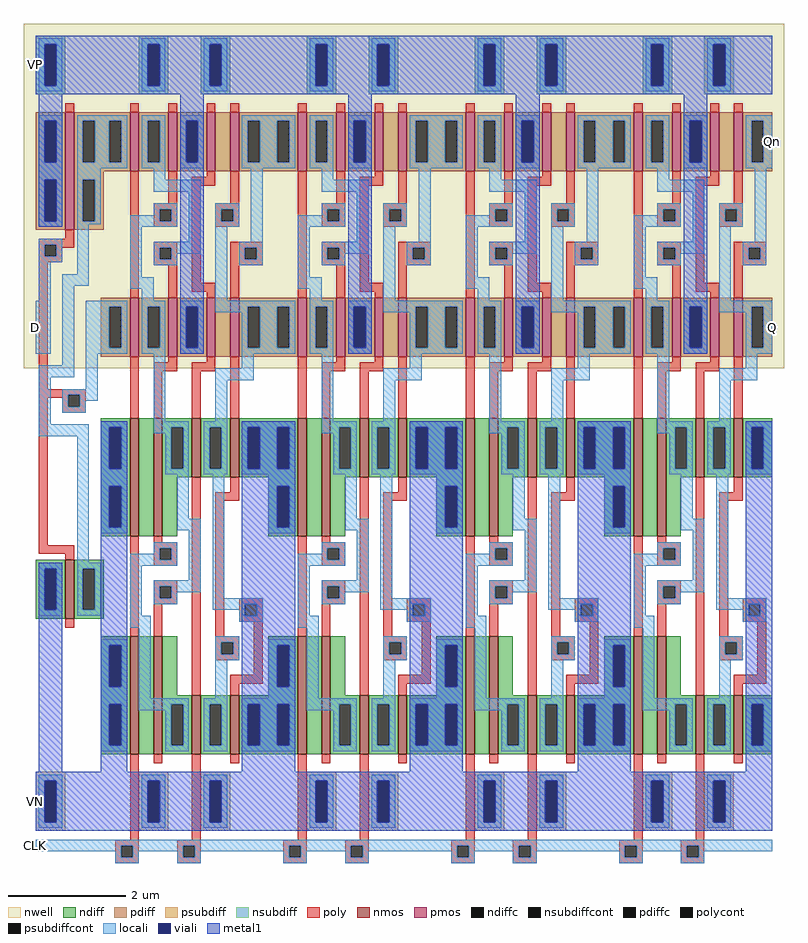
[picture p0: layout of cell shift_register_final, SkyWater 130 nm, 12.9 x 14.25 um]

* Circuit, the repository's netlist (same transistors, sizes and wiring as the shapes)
* SPICE3 file created from shift_register_final.ext - technology: sky130A

.subckt inverter Y VP VN CLK A
X0 Y A VP VP sky130_fd_pr__pfet_01v8 ad=1e+12p pd=5e+06u as=1e+12p ps=5e+06u w=2e+06u l=150000u
X1 Y A VN VN sky130_fd_pr__nfet_01v8 ad=5e+11p pd=3e+06u as=5e+11p ps=3e+06u w=1e+06u l=150000u
.ends

.subckt CSRL_D_FF Dn D Qn Q CLK VP VN
X0 Qn Q a_290_1950# VP sky130_fd_pr__pfet_01v8 ad=5e+11p pd=3e+06u as=2.5e+11p ps=2.5e+06u w=1e+06u l=150000u
X1 Q CLK a_30_1320# VN sky130_fd_pr__nfet_01v8 ad=5e+11p pd=3e+06u as=7.5e+11p ps=5e+06u w=1e+06u l=150000u
X2 VP a_30_1320# a_30_1950# VP sky130_fd_pr__pfet_01v8 ad=1e+12p pd=6e+06u as=5e+11p ps=3e+06u w=1e+06u l=150000u
X3 a_30_710# CLK VN VN sky130_fd_pr__nfet_01v8 ad=5e+11p pd=4.5e+06u as=3e+12p ps=1.6e+07u w=2e+06u l=150000u
X4 a_290_1320# CLK VP VP sky130_fd_pr__pfet_01v8 ad=2.5e+11p pd=2.5e+06u as=0p ps=0u w=1e+06u l=150000u
X5 a_30_n30# CLK VN VN sky130_fd_pr__nfet_01v8 ad=5e+11p pd=4.5e+06u as=0p ps=0u w=2e+06u l=150000u
X6 VN Qn Q VN sky130_fd_pr__nfet_01v8 ad=0p pd=0u as=0p ps=0u w=1e+06u l=150000u
X7 a_30_1320# CLK D VP sky130_fd_pr__pfet_01v8 ad=5e+11p pd=3e+06u as=5e+11p ps=3e+06u w=1e+06u l=150000u
X8 a_290_1950# CLK VP VP sky130_fd_pr__pfet_01v8 ad=0p pd=0u as=0p ps=0u w=1e+06u l=150000u
X9 Q Qn a_290_1320# VP sky130_fd_pr__pfet_01v8 ad=5e+11p pd=3e+06u as=0p ps=0u w=1e+06u l=150000u
X10 VP a_30_1950# a_30_1320# VP sky130_fd_pr__pfet_01v8 ad=0p pd=0u as=0p ps=0u w=1e+06u l=150000u
X11 Qn CLK a_30_1950# VN sky130_fd_pr__nfet_01v8 ad=5e+11p pd=3e+06u as=7.5e+11p ps=5e+06u w=1e+06u l=150000u
X12 a_30_1950# CLK Dn VP sky130_fd_pr__pfet_01v8 ad=0p pd=0u as=5e+11p ps=3e+06u w=1e+06u l=150000u
X13 a_30_1320# a_30_1950# a_30_710# VN sky130_fd_pr__nfet_01v8 ad=0p pd=0u as=0p ps=0u w=2e+06u l=150000u
X14 a_30_1950# a_30_1320# a_30_n30# VN sky130_fd_pr__nfet_01v8 ad=0p pd=0u as=0p ps=0u w=2e+06u l=150000u
X15 VN Q Qn VN sky130_fd_pr__nfet_01v8 ad=0p pd=0u as=0p ps=0u w=1e+06u l=150000u
.ends


* Top level circuit shift_register_final

Xinverter_0 inverter_0/Y VP VN CLK D inverter
XCSRL_D_FF_0 inverter_0/Y D CSRL_D_FF_1/Dn CSRL_D_FF_1/D CLK VP VN CSRL_D_FF
XCSRL_D_FF_1 CSRL_D_FF_1/Dn CSRL_D_FF_1/D CSRL_D_FF_2/Dn CSRL_D_FF_2/D CLK VP VN CSRL_D_FF
XCSRL_D_FF_2 CSRL_D_FF_2/Dn CSRL_D_FF_2/D CSRL_D_FF_3/Dn CSRL_D_FF_3/D CLK VP VN CSRL_D_FF
XCSRL_D_FF_3 CSRL_D_FF_3/Dn CSRL_D_FF_3/D Qn Q CLK VP VN CSRL_D_FF
.end

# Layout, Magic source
magic
tech sky130A
<< locali >>
rect 1145 1180 1160 1270
rect -90 865 -65 955
rect 1145 865 1160 955
rect -90 20 -75 40
<< metal1 >>
rect -90 1305 -75 1405
rect -90 55 -75 155
use inverter  inverter_0
transform 1 0 -40 0 1 185
box -70 -165 85 1240
use CSRL_D_FF  CSRL_D_FF_3
transform 1 0 925 0 1 200
box -70 -200 255 1225
use CSRL_D_FF  CSRL_D_FF_2
transform 1 0 640 0 1 200
box -70 -200 255 1225
use CSRL_D_FF  CSRL_D_FF_1
transform 1 0 355 0 1 200
box -70 -200 255 1225
use CSRL_D_FF  CSRL_D_FF_0
transform 1 0 70 0 1 200
box -70 -200 255 1225
<< labels >>
rlabel locali -90 910 -90 910 7 D
rlabel metal1 -90 1355 -90 1355 7 VP
rlabel metal1 -90 105 -90 105 7 VN
rlabel locali -90 30 -90 30 7 CLK
rlabel locali 1160 910 1160 910 3 Q
rlabel locali 1160 1225 1160 1225 3 Qn
<< end >>

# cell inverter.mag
magic
tech sky130A
<< nwell >>
rect -70 655 85 1240
<< nmos >>
rect 0 230 15 330
<< pmos >>
rect 0 890 15 1090
<< ndiff >>
rect -50 315 0 330
rect -50 245 -35 315
rect -15 245 0 315
rect -50 230 0 245
rect 15 315 65 330
rect 15 245 30 315
rect 50 245 65 315
rect 15 230 65 245
<< pdiff >>
rect -50 1075 0 1090
rect -50 1005 -35 1075
rect -15 1005 0 1075
rect -50 975 0 1005
rect -50 905 -35 975
rect -15 905 0 975
rect -50 890 0 905
rect 15 1075 65 1090
rect 15 1005 30 1075
rect 50 1005 65 1075
rect 15 975 65 1005
rect 15 905 30 975
rect 50 905 65 975
rect 15 890 65 905
<< ndiffc >>
rect -35 245 -15 315
rect 30 245 50 315
<< pdiffc >>
rect -35 1005 -15 1075
rect -35 905 -15 975
rect 30 1005 50 1075
rect 30 905 50 975
<< psubdiff >>
rect -50 -45 0 -30
rect -50 -115 -35 -45
rect -15 -115 0 -45
rect -50 -130 0 -115
<< nsubdiff >>
rect -50 1205 0 1220
rect -50 1135 -35 1205
rect -15 1135 0 1205
rect -50 1120 0 1135
<< psubdiffcont >>
rect -35 -115 -15 -45
<< nsubdiffcont >>
rect -35 1135 -15 1205
<< poly >>
rect 0 1090 15 1105
rect 0 875 15 890
rect -45 865 15 875
rect -45 845 -35 865
rect -15 860 15 865
rect -15 845 -5 860
rect -45 835 -5 845
rect -45 620 -30 835
rect -45 610 35 620
rect -45 605 5 610
rect -45 355 -30 605
rect -5 590 5 605
rect 25 590 35 610
rect -5 580 35 590
rect -45 340 15 355
rect 0 330 15 340
rect 0 215 15 230
<< polycont >>
rect -35 845 -15 865
rect 5 590 25 610
<< locali >>
rect -45 1205 -5 1215
rect -45 1135 -35 1205
rect -15 1135 -5 1205
rect -45 1125 -5 1135
rect -45 1075 -5 1085
rect -45 1005 -35 1075
rect -15 1005 -5 1075
rect -45 975 -5 1005
rect -45 905 -35 975
rect -15 905 -5 975
rect -45 895 -5 905
rect 20 1075 65 1085
rect 20 1005 30 1075
rect 50 1005 65 1075
rect 20 995 65 1005
rect 20 975 60 995
rect 20 905 30 975
rect 50 905 60 975
rect 20 900 60 905
rect -45 865 -5 875
rect -45 845 -35 865
rect -15 845 -5 865
rect -45 835 -5 845
rect -45 770 -25 835
rect 20 815 40 900
rect -50 680 -25 770
rect -5 795 40 815
rect -5 660 15 795
rect -45 640 15 660
rect 35 680 65 770
rect -45 560 -25 640
rect 35 620 55 680
rect -5 610 55 620
rect -5 590 5 610
rect 25 600 55 610
rect 25 590 35 600
rect -5 580 35 590
rect -45 540 40 560
rect 20 325 40 540
rect -45 315 -5 325
rect -45 245 -35 315
rect -15 245 -5 315
rect -45 235 -5 245
rect 20 315 60 325
rect 20 245 30 315
rect 50 245 60 315
rect 20 235 60 245
rect -45 -45 -5 -35
rect -45 -115 -35 -45
rect -15 -115 -5 -45
rect -45 -125 -5 -115
rect -50 -165 65 -145
<< viali >>
rect -35 1135 -15 1205
rect -35 1005 -15 1075
rect -35 905 -15 975
rect -35 245 -15 315
rect -35 -115 -15 -45
<< metal1 >>
rect -50 1205 65 1220
rect -50 1135 -35 1205
rect -15 1135 65 1205
rect -50 1120 65 1135
rect -45 1075 -5 1120
rect -45 1005 -35 1075
rect -15 1005 -5 1075
rect -45 975 -5 1005
rect -45 905 -35 975
rect -15 905 -5 975
rect -45 895 -5 905
rect -45 315 -5 325
rect -45 245 -35 315
rect -15 245 -5 315
rect -45 -30 -5 245
rect -50 -45 65 -30
rect -50 -115 -35 -45
rect -15 -115 65 -45
rect -50 -130 65 -115
<< labels >>
rlabel metal1 -50 1170 -50 1170 7 VP
port 3 w
rlabel locali -50 725 -50 725 7 A
port 1 w
rlabel locali 65 1040 65 1040 3 Y
port 2 e
rlabel metal1 -50 -80 -50 -80 7 VN
port 4 w
rlabel locali -50 -155 -50 -155 7 CLK
port 5 w
rlabel locali 65 725 65 725 3 Ao
port 6 e
<< end >>

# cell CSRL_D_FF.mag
magic
tech sky130A
<< nwell >>
rect -70 640 255 1225
<< nmos >>
rect 0 355 15 555
rect 40 355 55 555
rect 105 455 120 555
rect 170 455 185 555
rect 0 -15 15 185
rect 40 -15 55 185
rect 105 -15 120 85
rect 170 -15 185 85
<< pmos >>
rect 0 975 15 1075
rect 65 975 80 1075
rect 130 975 145 1075
rect 170 975 185 1075
rect 0 660 15 760
rect 65 660 80 760
rect 130 660 145 760
rect 170 660 185 760
<< ndiff >>
rect -50 540 0 555
rect -50 470 -35 540
rect -15 470 0 540
rect -50 440 0 470
rect -50 370 -35 440
rect -15 370 0 440
rect -50 355 0 370
rect 15 355 40 555
rect 55 540 105 555
rect 55 470 70 540
rect 90 470 105 540
rect 55 455 105 470
rect 120 540 170 555
rect 120 470 135 540
rect 155 470 170 540
rect 120 455 170 470
rect 185 540 235 555
rect 185 470 200 540
rect 220 470 235 540
rect 185 455 235 470
rect 55 355 80 455
rect -50 170 0 185
rect -50 100 -35 170
rect -15 100 0 170
rect -50 70 0 100
rect -50 0 -35 70
rect -15 0 0 70
rect -50 -15 0 0
rect 15 -15 40 185
rect 55 85 80 185
rect 55 70 105 85
rect 55 0 70 70
rect 90 0 105 70
rect 55 -15 105 0
rect 120 70 170 85
rect 120 0 135 70
rect 155 0 170 70
rect 120 -15 170 0
rect 185 70 235 85
rect 185 0 200 70
rect 220 0 235 70
rect 185 -15 235 0
<< pdiff >>
rect -50 1060 0 1075
rect -50 990 -35 1060
rect -15 990 0 1060
rect -50 975 0 990
rect 15 1060 65 1075
rect 15 990 30 1060
rect 50 990 65 1060
rect 15 975 65 990
rect 80 1060 130 1075
rect 80 990 95 1060
rect 115 990 130 1060
rect 80 975 130 990
rect 145 975 170 1075
rect 185 1060 235 1075
rect 185 990 200 1060
rect 220 990 235 1060
rect 185 975 235 990
rect -50 745 0 760
rect -50 675 -35 745
rect -15 675 0 745
rect -50 660 0 675
rect 15 745 65 760
rect 15 675 30 745
rect 50 675 65 745
rect 15 660 65 675
rect 80 745 130 760
rect 80 675 95 745
rect 115 675 130 745
rect 80 660 130 675
rect 145 660 170 760
rect 185 745 235 760
rect 185 675 200 745
rect 220 675 235 745
rect 185 660 235 675
<< ndiffc >>
rect -35 470 -15 540
rect -35 370 -15 440
rect 70 470 90 540
rect 135 470 155 540
rect 200 470 220 540
rect -35 100 -15 170
rect -35 0 -15 70
rect 70 0 90 70
rect 135 0 155 70
rect 200 0 220 70
<< pdiffc >>
rect -35 990 -15 1060
rect 30 990 50 1060
rect 95 990 115 1060
rect 200 990 220 1060
rect -35 675 -15 745
rect 30 675 50 745
rect 95 675 115 745
rect 200 675 220 745
<< psubdiff >>
rect 15 -60 65 -45
rect 15 -130 30 -60
rect 50 -130 65 -60
rect 15 -145 65 -130
rect 120 -60 170 -45
rect 120 -130 135 -60
rect 155 -130 170 -60
rect 120 -145 170 -130
<< nsubdiff >>
rect 15 1190 65 1205
rect 15 1120 30 1190
rect 50 1120 65 1190
rect 15 1105 65 1120
rect 120 1190 170 1205
rect 120 1120 135 1190
rect 155 1120 170 1190
rect 120 1105 170 1120
<< psubdiffcont >>
rect 30 -130 50 -60
rect 135 -130 155 -60
<< nsubdiffcont >>
rect 30 1120 50 1190
rect 135 1120 155 1190
<< poly >>
rect 0 1075 15 1090
rect 65 1075 80 1090
rect 130 1075 145 1090
rect 170 1075 185 1090
rect 0 760 15 975
rect 65 920 80 975
rect 130 965 145 975
rect 40 910 80 920
rect 40 890 50 910
rect 70 890 80 910
rect 40 880 80 890
rect 105 950 145 965
rect 40 845 80 855
rect 40 825 50 845
rect 70 825 80 845
rect 40 815 80 825
rect 65 760 80 815
rect 105 785 120 950
rect 170 920 185 975
rect 145 910 185 920
rect 145 890 155 910
rect 175 890 185 910
rect 145 880 185 890
rect 170 845 225 855
rect 170 825 195 845
rect 215 825 225 845
rect 170 815 225 825
rect 105 770 145 785
rect 130 760 145 770
rect 170 760 185 815
rect 0 555 15 660
rect 65 650 80 660
rect 130 650 145 660
rect 40 635 80 650
rect 105 635 145 650
rect 40 555 55 635
rect 105 555 120 635
rect 170 555 185 660
rect 0 185 15 355
rect 40 345 55 355
rect 40 335 80 345
rect 40 315 50 335
rect 70 315 80 335
rect 40 305 80 315
rect 40 270 80 280
rect 40 250 50 270
rect 70 250 80 270
rect 40 240 80 250
rect 40 185 55 240
rect 105 85 120 455
rect 170 430 185 455
rect 145 415 185 430
rect 145 185 160 415
rect 185 240 225 250
rect 185 220 195 240
rect 215 220 225 240
rect 185 210 225 220
rect 145 175 185 185
rect 145 155 155 175
rect 175 155 185 175
rect 145 145 185 155
rect 210 120 225 210
rect 170 105 225 120
rect 170 85 185 105
rect 0 -160 15 -15
rect 40 -30 55 -15
rect 105 -160 120 -15
rect 170 -30 185 -15
rect -25 -170 15 -160
rect -25 -190 -15 -170
rect 5 -190 15 -170
rect -25 -200 15 -190
rect 80 -170 120 -160
rect 80 -190 90 -170
rect 110 -190 120 -170
rect 80 -200 120 -190
<< polycont >>
rect 50 890 70 910
rect 50 825 70 845
rect 155 890 175 910
rect 195 825 215 845
rect 50 315 70 335
rect 50 250 70 270
rect 195 220 215 240
rect 155 155 175 175
rect -15 -190 5 -170
rect 90 -190 110 -170
<< locali >>
rect 20 1190 60 1200
rect 20 1120 30 1190
rect 50 1120 60 1190
rect 20 1110 60 1120
rect 125 1190 165 1200
rect 125 1120 135 1190
rect 155 1120 165 1190
rect 125 1110 165 1120
rect -50 1060 -5 1070
rect -50 990 -35 1060
rect -15 990 -5 1060
rect -50 980 -5 990
rect 20 1060 60 1070
rect 20 990 30 1060
rect 50 990 60 1060
rect 20 980 60 990
rect 85 1060 125 1070
rect 85 990 95 1060
rect 115 990 125 1060
rect 85 980 125 990
rect 190 1060 235 1070
rect 190 990 200 1060
rect 220 990 235 1060
rect 190 980 235 990
rect 40 960 60 980
rect 40 940 120 960
rect 40 910 80 920
rect 40 900 50 910
rect 0 890 50 900
rect 70 890 80 910
rect 0 880 80 890
rect 0 795 20 880
rect 100 855 120 940
rect 40 845 120 855
rect 40 825 50 845
rect 70 835 120 845
rect 145 910 185 920
rect 145 890 155 910
rect 175 890 185 910
rect 145 880 185 890
rect 70 825 80 835
rect 40 815 80 825
rect 0 775 40 795
rect 20 755 40 775
rect 145 755 165 880
rect 205 855 225 980
rect 185 845 225 855
rect 185 825 195 845
rect 215 825 225 845
rect 185 815 225 825
rect -50 745 -5 755
rect -50 675 -35 745
rect -15 675 -5 745
rect -50 665 -5 675
rect 20 745 60 755
rect 20 675 30 745
rect 50 675 60 745
rect 20 665 60 675
rect 85 745 125 755
rect 85 675 95 745
rect 115 675 125 745
rect 145 745 235 755
rect 145 735 200 745
rect 85 665 125 675
rect 190 675 200 735
rect 220 675 235 745
rect 190 665 235 675
rect 40 550 60 665
rect 190 640 210 665
rect 145 620 210 640
rect 145 550 165 620
rect -50 540 -5 550
rect -50 470 -35 540
rect -15 470 -5 540
rect 40 540 100 550
rect 40 530 70 540
rect -50 440 -5 470
rect 60 470 70 530
rect 90 470 100 540
rect 60 460 100 470
rect 125 540 165 550
rect 125 470 135 540
rect 155 470 165 540
rect 125 460 165 470
rect 190 540 235 550
rect 190 470 200 540
rect 220 470 235 540
rect 190 460 235 470
rect -50 370 -35 440
rect -15 370 -5 440
rect -50 360 -5 370
rect 80 385 100 460
rect 80 365 120 385
rect 40 335 80 345
rect 40 325 50 335
rect 0 315 50 325
rect 70 315 80 335
rect 0 305 80 315
rect 0 220 20 305
rect 100 280 120 365
rect 40 270 120 280
rect 40 250 50 270
rect 70 260 120 270
rect 70 250 80 260
rect 40 240 80 250
rect 140 250 160 460
rect 140 240 225 250
rect 140 230 195 240
rect 185 220 195 230
rect 215 220 225 240
rect 0 200 35 220
rect 185 210 225 220
rect -50 170 -5 180
rect -50 100 -35 170
rect -15 100 -5 170
rect -50 70 -5 100
rect -50 0 -35 70
rect -15 0 -5 70
rect 15 80 35 200
rect 145 175 185 185
rect 145 155 155 175
rect 175 155 185 175
rect 145 145 185 155
rect 145 80 165 145
rect 15 70 100 80
rect 15 60 70 70
rect -50 -10 -5 0
rect 60 0 70 60
rect 90 0 100 70
rect 60 -10 100 0
rect 125 70 165 80
rect 125 0 135 70
rect 155 0 165 70
rect 125 -10 165 0
rect 190 70 235 80
rect 190 0 200 70
rect 220 0 235 70
rect 190 -10 235 0
rect 20 -60 60 -50
rect 20 -130 30 -60
rect 50 -130 60 -60
rect 20 -140 60 -130
rect 125 -60 165 -50
rect 125 -130 135 -60
rect 155 -130 165 -60
rect 125 -140 165 -130
rect -50 -170 235 -160
rect -50 -180 -15 -170
rect -25 -190 -15 -180
rect 5 -180 90 -170
rect 5 -190 15 -180
rect -25 -200 15 -190
rect 80 -190 90 -180
rect 110 -180 235 -170
rect 110 -190 120 -180
rect 80 -200 120 -190
<< viali >>
rect 30 1120 50 1190
rect 135 1120 155 1190
rect 95 990 115 1060
rect 95 675 115 745
rect -35 470 -15 540
rect 200 470 220 540
rect -35 370 -15 440
rect -35 100 -15 170
rect -35 0 -15 70
rect 200 0 220 70
rect 30 -130 50 -60
rect 135 -130 155 -60
<< metal1 >>
rect -50 1190 235 1205
rect -50 1120 30 1190
rect 50 1120 135 1190
rect 155 1120 235 1190
rect -50 1105 235 1120
rect 85 1060 125 1105
rect 85 990 95 1060
rect 115 990 125 1060
rect 85 745 125 990
rect 85 675 95 745
rect 115 675 125 745
rect 85 665 125 675
rect -50 540 -5 550
rect -50 470 -35 540
rect -15 470 -5 540
rect -50 440 -5 470
rect -50 370 -35 440
rect -15 370 -5 440
rect -50 170 -5 370
rect -50 100 -35 170
rect -15 100 -5 170
rect -50 70 -5 100
rect -50 0 -35 70
rect -15 0 -5 70
rect -50 -45 -5 0
rect 190 540 235 550
rect 190 470 200 540
rect 220 470 235 540
rect 190 70 235 470
rect 190 0 200 70
rect 220 0 235 70
rect 190 -45 235 0
rect -50 -60 235 -45
rect -50 -130 30 -60
rect 50 -130 135 -60
rect 155 -130 235 -60
rect -50 -145 235 -130
<< labels >>
rlabel locali 235 1025 235 1025 3 Qn
port 3 e
rlabel locali 235 710 235 710 3 Q
port 4 e
rlabel locali -50 710 -50 710 7 D
port 2 w
rlabel locali -50 1025 -50 1025 7 Dn
port 1 w
rlabel metal1 -50 1160 -50 1160 7 VP
port 6 w
rlabel locali -50 -170 -50 -170 7 CLK
port 5 w
rlabel metal1 -50 -100 -50 -100 7 VN
port 7 w
<< end >>
